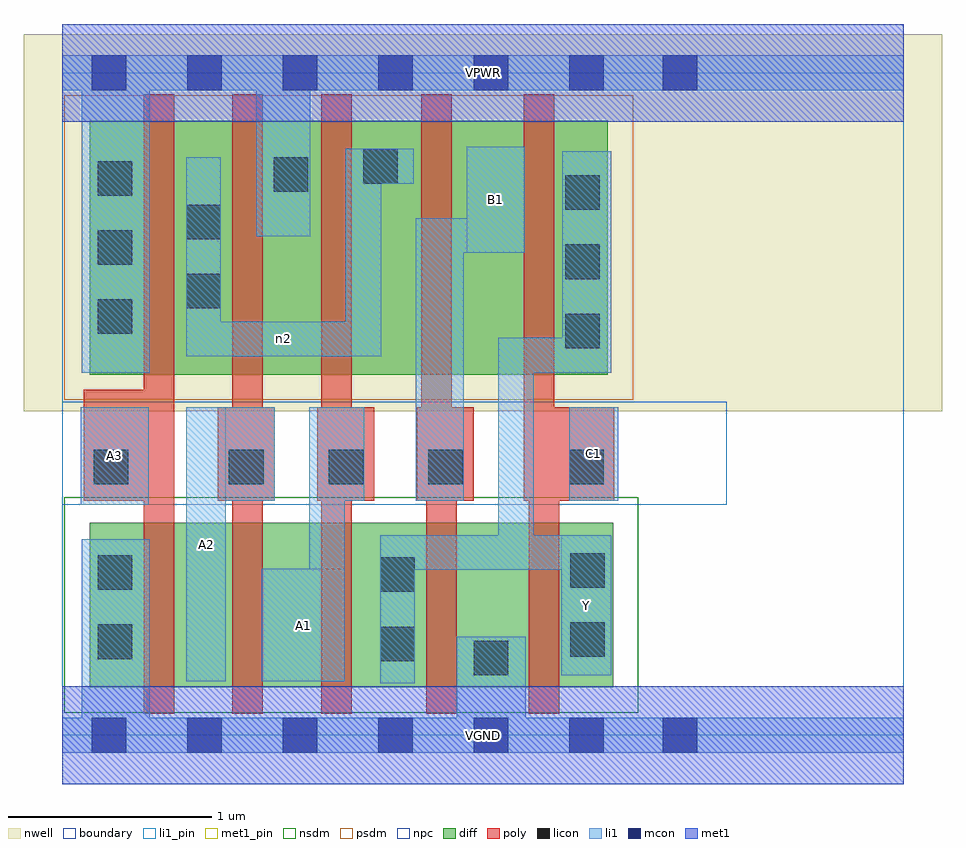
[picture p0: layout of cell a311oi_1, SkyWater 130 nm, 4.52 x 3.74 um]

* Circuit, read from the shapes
.subckt a311oi_1 A1 A2 A3 B1 C1 VGND VPWR Y n2
XM1 n1 A3 VGND VSUBS sky130_fd_pr__nfet_01v8 w=0.81 l=0.15
XM2 n3 A2 n1 VSUBS sky130_fd_pr__nfet_01v8 w=0.81 l=0.15
XM3 Y A1 n3 VSUBS sky130_fd_pr__nfet_01v8 w=0.81 l=0.15
XM4 VGND B1 Y VSUBS sky130_fd_pr__nfet_01v8 w=0.81 l=0.15
XM5 Y C1 VGND VSUBS sky130_fd_pr__nfet_01v8 w=0.81 l=0.15
XM6 n2 A3 VPWR n4 sky130_fd_pr__pfet_01v8 w=1.25 l=0.15
XM7 VPWR A2 n2 n4 sky130_fd_pr__pfet_01v8 w=1.25 l=0.15
XM8 n2 A1 VPWR n4 sky130_fd_pr__pfet_01v8 w=1.25 l=0.15
XM9 n5 B1 n2 n4 sky130_fd_pr__pfet_01v8 w=1.25 l=0.15
XM10 Y C1 n5 n4 sky130_fd_pr__pfet_01v8 w=1.25 l=0.15
.ends

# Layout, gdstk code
import gdstk
lib = gdstk.Library(unit=1e-6, precision=1e-09)
def R(c, l, rs):  # rectangles x0, y0, x1, y1
    for r in rs: c.add(gdstk.rectangle(r[:2], r[2:], *l))
def A(c, l, x, y, w, h, nx, ny, dx, dy):  # array of equal rectangles
    R(c, l, [(x+i*dx, y+j*dy, x+i*dx+w, y+j*dy+h) for i in range(nx) for j in range(ny)])
nwell = (64, 20)
diff = (65, 20)
poly = (66, 20)
licon = (66, 44)
li1_pin = (67, 16)
li1 = (67, 20)
mcon = (67, 44)
met1_pin = (68, 16)
met1 = (68, 20)
nsdm = (93, 44)
psdm = (94, 20)
npc = (95, 20)
boundary = (235, 4)

a311oi_1 = lib.new_cell('a311oi_1')
R(a311oi_1, nwell, [(-0.19,1.595,4.33,3.45), (0,1.595,4.14,3.45)])
R(a311oi_1, diff, [(0.135,0.235,2.71,1.045), (0.135,1.775,2.685,3.025)])
A(a311oi_1, poly, 0.765, 1.155, 0.28, 0.46, 3, 1, 0.49, 0)
R(a311oi_1, poly, [(0.4,0.105,0.55,3.155), (0.835,0.105,0.985,3.155), (1.275,0.105,1.425,3.155), (1.79,0.105,1.94,1.615), (2.295,0.105,2.445,1.615), (0.105,1.155,0.55,1.7), (1.765,1.155,1.915,3.155), (2.27,1.155,2.42,3.155), (2.27,1.155,2.715,1.615)])
A(a311oi_1, licon, 0.82, 1.235, 0.17, 0.17, 3, 1, 0.49, 0)
A(a311oi_1, licon, 2.475, 1.905, 0.17, 0.17, 1, 3, 0, 0.34)
A(a311oi_1, licon, 0.175, 1.975, 0.17, 0.17, 1, 3, 0, 0.34)
R(a311oi_1, licon, [(2.025,0.295,2.195,0.465), (1.565,0.365,1.735,0.535), (0.175,0.375,0.345,0.545), (2.5,0.385,2.67,0.555), (1.565,0.705,1.735,0.875), (0.175,0.715,0.345,0.885), (2.5,0.725,2.67,0.895), (0.155,1.235,0.325,1.405), (2.495,1.235,2.665,1.405), (0.61,2.1,0.78,2.27), (0.61,2.44,0.78,2.61), (1.04,2.675,1.21,2.845), (1.48,2.715,1.65,2.885)])
R(a311oi_1, li1_pin, [(0.61,0.265,0.805,1.615), (0.98,0.265,1.39,0.82), (2.455,0.295,2.7,0.985), (0.09,1.135,0.425,1.615), (2.495,1.155,2.735,1.615), (1.99,2.375,2.275,2.895)])
R(a311oi_1, li1, [(0,-0.085,4.14,0.085), (0.095,-0.085,0.43,0.965), (1.94,-0.085,2.28,0.485), (1.565,0.255,1.735,0.985), (0.61,0.265,0.805,1.615), (0.98,0.265,1.39,0.82), (1.215,0.265,1.39,1.615), (2.455,0.295,2.7,0.985), (1.565,0.815,2.7,0.985), (2.145,0.815,2.32,1.955), (0.09,1.135,0.425,1.615), (0.61,1.155,1.045,1.615), (1.215,1.155,1.485,1.615), (1.74,1.155,1.975,2.545), (2.495,1.155,2.735,1.615), (0.095,1.785,0.43,3.345), (2.145,1.785,2.7,1.955), (2.46,1.785,2.7,2.875), (0.61,1.865,1.57,2.035), (0.61,1.865,0.78,2.845), (1.395,1.865,1.57,2.885), (1.74,2.375,2.275,2.545), (1.99,2.375,2.275,2.895), (0.955,2.455,1.22,3.345), (1.395,2.715,1.73,2.885), (0,3.175,4.14,3.345)])
A(a311oi_1, mcon, 0.145, -0.085, 0.17, 0.17, 6, 2, 0.47, 3.26)
R(a311oi_1, mcon, [(2.955,-0.085,3.125,0.085), (2.955,3.175,3.125,3.345)])
R(a311oi_1, met1_pin, [(0,-0.24,4.14,0.24), (0,3.02,4.14,3.5)])
R(a311oi_1, met1, [(0,-0.24,4.14,0.24), (0,3.02,4.14,3.5)])
R(a311oi_1, nsdm, [(0.01,0.11,2.835,1.17)])
R(a311oi_1, psdm, [(0.01,1.65,2.81,3.15)])
R(a311oi_1, npc, [(0,1.135,3.27,1.64)])
R(a311oi_1, boundary, [(0,0,4.14,3.26)])
a311oi_1.add(gdstk.Label('A1', (1.185,0.542), layer=67, texttype=5))
a311oi_1.add(gdstk.Label('A2', (0.707,0.94), layer=67, texttype=5))
a311oi_1.add(gdstk.Label('A3', (0.257,1.375), layer=67, texttype=5))
a311oi_1.add(gdstk.Label('B1', (2.132,2.635), layer=67, texttype=5))
a311oi_1.add(gdstk.Label('C1', (2.615,1.385), layer=67, texttype=5))
a311oi_1.add(gdstk.Label('Y', (2.577,0.64), layer=67, texttype=5))
a311oi_1.add(gdstk.Label('n2', (1.09,1.95), layer=67, texttype=5))
a311oi_1.add(gdstk.Label('VPWR', (2.07,3.26), layer=68, texttype=5))
a311oi_1.add(gdstk.Label('VGND', (2.07,0), layer=68, texttype=5))
a311oi_1.add(gdstk.Label('A1', (1.185,0.542), layer=67, texttype=16))
a311oi_1.add(gdstk.Label('A2', (0.707,0.94), layer=67, texttype=16))
a311oi_1.add(gdstk.Label('A3', (0.257,1.375), layer=67, texttype=16))
a311oi_1.add(gdstk.Label('B1', (2.132,2.635), layer=67, texttype=16))
a311oi_1.add(gdstk.Label('C1', (2.615,1.385), layer=67, texttype=16))
a311oi_1.add(gdstk.Label('Y', (2.577,0.64), layer=67, texttype=16))
a311oi_1.add(gdstk.Label('VPWR', (2.07,3.26), layer=68, texttype=16))
a311oi_1.add(gdstk.Label('VGND', (2.07,0), layer=68, texttype=16))

lib.write_gds('a311oi_1.gds')
